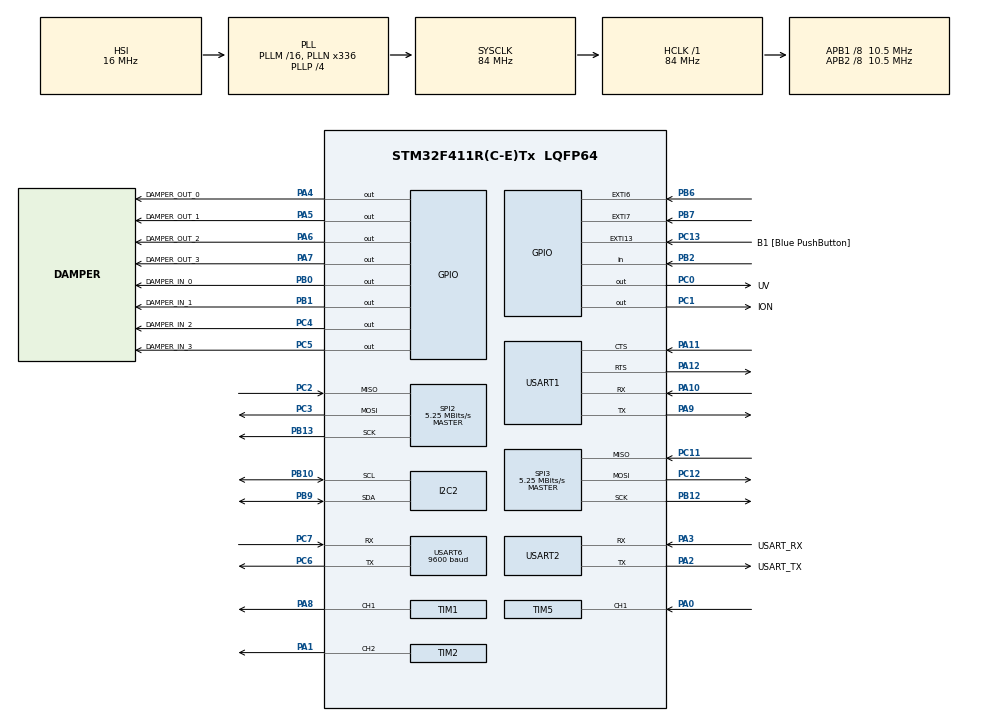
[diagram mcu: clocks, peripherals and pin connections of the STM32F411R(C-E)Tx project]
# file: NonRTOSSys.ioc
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Mcu.Family=STM32F4
PC3.Mode=Full_Duplex_Master
RCC.CortexFreq_Value=84000000
SPI3.Direction=SPI_DIRECTION_2LINES
SPI3.VirtualType=VM_MASTER
PB10.GPIO_Speed=GPIO_SPEED_FREQ_HIGH
SPI2.VirtualType=VM_MASTER
PB10.Mode=I2C
PC12.Signal=SPI3_MOSI
PA14.GPIO_Label=TCK
PC0.GPIO_Label=UV
PA11.Mode=CTS_RTS
PA6.GPIO_Label=DAMPER_OUT_2
PB0.GPIO_Label=DAMPER_IN_0
TIM2.Channel-PWM\ Generation2\ CH2=TIM_CHANNEL_2
PB13.Signal=SPI2_SCK
RCC.SYSCLKSource=RCC_SYSCLKSOURCE_PLLCLK
ProjectManager.StackSize=0x400
PA12.Signal=USART1_RTS
TIM1.Prescaler=20
PH0\ -\ OSC_IN.Signal=RCC_OSC_IN
RCC.HCLKFreq_Value=84000000
RCC.APB2TimFreq_Value=21000000
TIM3.Period=50
PB6.Signal=GPXTI6
PC7.Signal=USART6_RX
PC3.Signal=SPI2_MOSI
RCC.AHBFreq_Value=84000000
NVIC.EXTI15_10_IRQn=true\:0\:0\:false\:false\:true\:true\:true
RCC.HSE_VALUE=8000000
PB2.Signal=GPIO_Input
PC13-ANTI_TAMP.Signal=GPXTI13
PC14-OSC32_IN.Mode=LSE-External-Oscillator
PC4.GPIO_Label=DAMPER_IN_2
TIM1.Channel-PWM\ Generation1\ CH1=TIM_CHANNEL_1
PA14.Mode=Serial_Wire
TIM3.Prescaler=21000
PB1.GPIO_Label=DAMPER_IN_1
NVIC.TIM2_IRQn=true\:0\:0\:false\:false\:true\:true\:true
SPI2.CalculateBaudRate=5.25 MBits/s
PB7.Signal=GPXTI7
PA8.Signal=S_TIM1_CH1
TIM5.Channel-Input_Capture1_from_TI1=TIM_CHANNEL_1
VP_TIM1_VS_ClockSourceINT.Mode=Internal
RCC.FLatency-AdvancedSettings=FLASH_LATENCY_2
Mcu.Package=LQFP64
PB9.Signal=I2C2_SDA
PB1.Signal=GPIO_Output
PA6.Signal=GPIO_Output
PB12.Mode=Full_Duplex_Master
SPI2.Mode=SPI_MODE_MASTER
SPI3.Mode=SPI_MODE_MASTER
USART2.VirtualMode=VM_ASYNC
USART6.VirtualMode=VM_ASYNC
PA2.GPIO_Label=USART_TX
PA10.Signal=USART1_RX
USART6.BaudRate=9600
PC11.Mode=Full_Duplex_Master
RCC.APB2CLKDivider=RCC_HCLK_DIV8
PB9.GPIO_Speed=GPIO_SPEED_FREQ_HIGH
RCC.APB1TimFreq_Value=21000000
SH.S_TIM5_CH1.0=TIM5_CH1,Input_Capture1_from_TI1
SPI2.Direction=SPI_DIRECTION_2LINES
PC5.Signal=GPIO_Output
TIM1.Period=4999
PB13.Mode=Full_Duplex_Master
NVIC.USART1_IRQn=true\:0\:0\:false\:false\:true\:true\:true
PA4.GPIO_Label=DAMPER_OUT_0
VP_TIM3_VS_ClockSourceINT.Mode=Internal
PA3.Signal=USART2_RX
PB3.GPIO_Label=SWO
PC15-OSC32_OUT.Mode=LSE-External-Oscillator
PA10.Mode=Asynchronous
PC13-ANTI_TAMP.GPIO_Label=B1 [Blue PushButton]
PC11.Signal=SPI3_MISO
PB10.GPIO_PuPdOD=GPIO_NOPULL
PH1\ -\ OSC_OUT.Mode=HSE-External-Clock-Source
PC2.Signal=SPI2_MISO
PC4.Signal=GPIO_Output
PC6.Signal=USART6_TX
PC2.Mode=Full_Duplex_Master
PC0.Signal=GPIO_Output
RCC.APB1CLKDivider=RCC_HCLK_DIV8
PC14-OSC32_IN.Signal=RCC_OSC32_IN
NVIC.USART2_IRQn=true\:0\:0\:false\:false\:true\:true\:true
PA0-WKUP.Signal=S_TIM5_CH1
NVIC.USART6_IRQn=true\:0\:0\:false\:false\:true\:true\:true
PA3.Mode=Asynchronous
PA13.Signal=SYS_JTMS-SWDIO
SH.S_TIM2_CH2.0=TIM2_CH2,PWM Generation2 CH2
PA9.Mode=Asynchronous
PH0\ -\ OSC_IN.Mode=HSE-External-Clock-Source
SH.S_TIM1_CH1.0=TIM1_CH1,PWM Generation1 CH1
ProjectManager.TargetToolchain=STM32CubeIDE
PC6.Mode=Asynchronous
PB9.Mode=I2C
PA9.Signal=USART1_TX
PC15-OSC32_OUT.Signal=RCC_OSC32_OUT
PA1.Signal=S_TIM2_CH2
PB10.Signal=I2C2_SCL
PA5.Signal=GPIO_Output
PC12.Mode=Full_Duplex_Master
PH1\ -\ OSC_OUT.Signal=RCC_OSC_OUT
board=NUCLEO-F411RE
RCC.VCOOutputFreq_Value=336000000
VP_TIM9_VS_ClockSourceINT.Mode=Internal
NVIC.TIM3_IRQn=true\:0\:0\:false\:false\:true\:true\:true
RCC.APB2Freq_Value=10500000
SPI3.CalculateBaudRate=5.25 MBits/s
VP_TIM2_VS_ClockSourceINT.Mode=Internal
PC1.GPIO_Label=ION
PA13.Mode=Serial_Wire
Mcu.Name=STM32F411R(C-E)Tx
NVIC.TIM1_BRK_TIM9_IRQn=true\:0\:0\:false\:false\:true\:true\:true
PA2.Signal=USART2_TX
PA13.GPIO_Label=TMS
NVIC.TIM1_CC_IRQn=true\:0\:0\:false\:false\:true\:true\:true
RCC.48MHZClocksFreq_Value=84000000
PB3.Signal=SYS_JTDO-SWO
PA4.Signal=GPIO_Output
RCC.SYSCLKFreq_VALUE=84000000
PA7.GPIO_Label=DAMPER_OUT_3
PA12.Mode=CTS_RTS
PA5.GPIO_Label=DAMPER_OUT_1
PC5.GPIO_Label=DAMPER_IN_3
USART1.VirtualMode=VM_ASYNC
PC13-ANTI_TAMP.GPIO_ModeDefaultEXTI=GPIO_MODE_IT_FALLING
PA11.Signal=USART1_CTS
NVIC.EXTI9_5_IRQn=true\:0\:0\:false\:false\:true\:true\:true
PA14.Signal=SYS_JTCK-SWCLK
ProjectManager.HeapSize=0x200
PB9.GPIO_PuPdOD=GPIO_NOPULL
RCC.HSI_VALUE=16000000
RCC.PLLP=RCC_PLLP_DIV4
NVIC.PriorityGroup=NVIC_PRIORITYGROUP_0
RCC.PLLN=336
PA2.Mode=Asynchronous
PC7.Mode=Asynchronous
RCC.APB1Freq_Value=10500000
PB0.Signal=GPIO_Output
PC1.Signal=GPIO_Output
PB12.Signal=SPI3_SCK
PA3.GPIO_Label=USART_RX
PA7.Signal=GPIO_Output

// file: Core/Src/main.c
/* USER CODE BEGIN Header */
/**
  ******************************************************************************
  * @file           : main.c
  * @brief          : Main program body
  ******************************************************************************
  * @attention
  *
  * <h2><center>&copy; Copyright (c) 2020 STMicroelectronics.
  * All rights reserved.</center></h2>
  *
  * This software component is licensed by ST under BSD 3-Clause license,
  * the "License"; You may not use this file except in compliance with the
  * License. You may obtain a copy of the License at:
  *                        opensource.org/licenses/BSD-3-Clause
  *
  ******************************************************************************
  */
/* USER CODE END Header */

#include "main.h"

/* USER CODE BEGIN Includes */
#include "stdbool.h"
#include "string.h"
#include "stdio.h"
#include "math.h"

#include "MQTTClient.h"
#include "MQTTConnect.h"
#include "amw_uart.h"
#include "fan.h"
#include "stepmotor.h"
#include "svm30.h"
#include "sensirion_i2c.h"
#include "sm_uart-04l.h"
#include "tiny-json.h"
#include "IRremote.h"
/* USER CODE END Includes */

/* USER CODE BEGIN PD */
#define SSID_WIFI "Samsung"
#define PASS_WIFI "123456789"

#define MQTT_MESSAGE                "[{\"name\": \"ERV\", \"id\": \"hethong123\"}]"

#define MQTT_PUB_TOPIC              "leetest"
#define MQTT_SUB_TOPIC              "diem"
#define MQTT_CLIENT_ID              "Zentri"
#define MQTT_USER                   "myuncjoa"
#define MQTT_PASSWORD               "SvVx1BPwTVqk"
#define MQTT_HOST                   "m24.cloudmqtt.com"
#define MQTT_PORT                   14022

// For new app
#define MQTT_USER_N                 "erdfotqc"
#define MQTT_PASSWORD_N             "e8HXfhsM8aD6"
#define MQTT_HOST_N                   "m16.cloudmqtt.com"
#define MQTT_PORT_N                   15044

//** Define MQTT TOPIC cần subcribse từ Broker để giao tiếp vs app **//
#define TOPIC_DEVICE_ID "esp/request/collect/device-info"
#define TOPIC_AIR_QUALITY "esp/request/collect/air-quality"
#define TOPIC_CONTROL_STATE "esp/request/collect/control-state"
#define TOPIC_POWER_ON "esp/request/control/power-on"
#define TOPIC_POWER_OFF "esp/request/control/power-off"
#define TOPIC_NIGHT_MODE "esp/request/control/night_mode"
#define TOPIC_ION "esp/request/control/ion"
#define TOPIC_UV "esp/request/control/uv"
#define TOPIC_FILTER "esp/request/control/filter_mode"
#define TOPIC_CONTROL "esp/request/control/control_mode"
#define TOPIC_SPEED_LOW "esp/request/control/low"
#define TOPIC_SPEED_MED "esp/request/control/med"
#define TOPIC_SPEED_HIGH "esp/request/control/high"

#define RESPONSE_DEVICE_INFO_TOPIC	"esp/response/collect/device-info"
#define TOPIC_PUB_AIR_QUALITY 	"esp/response/collect/air-quality"
#define TOPIC_PUB_CONTROL_STATE  "esp/response/collect/control-state"
#define TOPIC_PUB_INFO "esp/response/collect/device-info"

// For new mobile app
#define TOPIC_LOGIN "hungdv39/ap01/server-device/account/login"
#define TOPIC_CHANGE_PASSWORD "hungdv39/ap01/request/login/change_password"
// Lấy các chỉ số chất lượng không khí và đi�?u khiển
#define TOPIC_GET_AIR_QUALITY  "session_01/ap01/request/home/get_air_quality"
#define TOPIC_GET_CONTROL_STATE "session_01/ap01/request/control/get_state"
#define TOPIC_REQUEST_CONTROL_MODE "session_01/ap01/request/control/control_state"
#define TOPIC_REQUEST_ALERT "session_01/ap01/request/alert/alert"
/** Topic Publish **/
#define REPONSE_LOGIN "hungdv39/ap01/response/login/login"
#define REPONSE_CHANGE_PASSWORD "hungdv39/ap01/response/login/change_password"
#define REPONSE_GET_AIR_QUALITY "session_01/ap01/response/home/get_air_quality"
#define REPONSE_GET_STATE "session_01/ap01/response/control/get_state"
#define REPONSE_CONTROL_STATE "session_01/ap01/response/control/control_state"
#define REPONSE_ALERT "session_01/ap01/response/alert/alert"

#define MESSAGE_LOGIN_SUCCESS  "[{ \"success\" : \"true\", \"session_id\" : \"session_01\", \"info\" : {\"device_id\" : \"air123\", \"name\" : \"May loc 1\", \"position\" : \"Phong khach\"} }]"
#define MESSAGE_LOGIN_FAIL "{ \"success\" : \"false\", \"error\" : \"Wrong user name or password\"}"
#define CHANGE_PASSWORD_SUCCESS "{ \"success\" : \"true\" }"
#define CHANGE_PASSWORD_FAIL "{ \"success\" : \"false\" }"
char username_Login[] = "hungdv39";
char password_Login[] = "hungdv39";
char sessionID[] = "session_01";

#define TIMEOUT_SVM		5000

#define CO2_LEVEL_1		500
#define CO2_LEVEL_2		700
/* USER CODE END PD */

/* USER CODE BEGIN PM */
#ifdef __GNUC__
  /* With GCC, small printf (option LD Linker->Libraries->Small printf
     set to 'Yes') calls __io_putchar() */
  #define PUTCHAR_PROTOTYPE int __io_putchar(int ch)
#else
  #define PUTCHAR_PROTOTYPE int fputc(int ch, FILE *f)
#endif /* __GNUC__ */
/* USER CODE END PM */

I2C_HandleTypeDef hi2c2;

SPI_HandleTypeDef hspi2;
SPI_HandleTypeDef hspi3;

TIM_HandleTypeDef htim1;
TIM_HandleTypeDef htim2;
TIM_HandleTypeDef htim3;
TIM_HandleTypeDef htim5;
TIM_HandleTypeDef htim9;

UART_HandleTypeDef huart1;
UART_HandleTypeDef huart2;
UART_HandleTypeDef huart6;

/* USER CODE BEGIN PV */
MQTTClient client = DefaultClient;
Network network;
MQTTPacket_connectData data = MQTTPacket_connectData_initializer;
svm30_t sensorSVM30data;

uint8_t Rx_data[2];
uint8_t rx_u6[2];
unsigned char send_buf[512];
unsigned char recv_buf[2048];

char controlState[40];
char airAQI[50];
char AQI_newver[100];
char state_newver[100];

//Iar quality variables
uint16_t tvoc_ppb = 0, co2_ppm = 0;
int32_t temperature = 0, humidity = 0;
uint16_t pm2_5, pm1_0, pm10;

//control mode variables
uint8_t power = 0, fan_speed = 0, night_mode = 0, filter_mode = 0, control_mode = 0, uv_state = 0, ion_state = 0;
uint8_t sys_mode = 0; // For new app
uint8_t vanst = 0, preVanst = 0;

uint8_t cap_speed_available = 0;
uint32_t cap_speed;

uint8_t fan_flag = 0;
amphenol_t amphenol1;

// For receive PM2.5
uint8_t index_p = 0;
uint8_t getNext = 0;
uint8_t rxBuffer[32] = {0};

// For IR remote
//int SwitchIR;
//int ModeIR;
//int SpeedIR;
//int IonIR;
char trans_str[96] = {0,};
static char *decode_str[] = {"UNUSED", "UNKNOWN", "RC5", "RC6", "NEC", "SONY", "PANASONIC", "JVC", "SAMSUNG", "WHYNTER", "AIWA_RC_T501", "LG", "SANYO", "MITSUBISHI", "DISH", "SHARP", "DENON", "PRONTO"};
int flagSW, flagSP, flagMode, flagIon;
// For button remote
int state1 = 1, state2=1;
int flagPBT, flagSBT, flagMBT ;
uint32_t nowb;
uint32_t future;
int long_press = 0;
int button1, button2;
/* USER CODE END PV */

void SystemClock_Config(void);
static void MX_GPIO_Init(void);
static void MX_USART2_UART_Init(void);
static void MX_I2C2_Init(void);
static void MX_SPI2_Init(void);
static void MX_SPI3_Init(void);
static void MX_TIM1_Init(void);
static void MX_TIM2_Init(void);
static void MX_TIM3_Init(void);
static void MX_TIM5_Init(void);
static void MX_TIM9_Init(void);
static void MX_USART1_UART_Init(void);
static void MX_USART6_UART_Init(void);
/* USER CODE BEGIN PFP */
PUTCHAR_PROTOTYPE
{
  /* Place your implementation of fputc here */
  /* e.g. write a character to the EVAL_COM1 and Loop until the end of transmission */
  HAL_UART_Transmit(&huart2, (uint8_t *)&ch, 1, 0xFFFF);

  return ch;
}

void init_MQTT(void);
void setUVState(uint8_t state);
void setIONState(uint8_t state);
int publish(void* payload, void* topic);

/* USER CODE END PFP */

/* USER CODE BEGIN 0 */

void Get_Json_login(void* message){

	enum { MAX_FIELDS = 4 };
	json_t pool[ MAX_FIELDS ];

	 json_t const* parent = json_create( message, pool, MAX_FIELDS );
	 if ( parent == NULL )
		 printf("Nothing in payload\r\n");
	 json_t const* namefield = json_getProperty( parent, "user_name" );
	 if ( namefield == NULL )
		 printf("user_name is not exist in payload\r\n");
	 if ( json_getType( namefield ) != JSON_TEXT )
		 printf("Value is wrong\r\n");
	 json_t const* passfield = json_getProperty( parent, "password" );
	 if ( passfield == NULL )
		 printf("password is not exist in payload\r\n");
	 if ( json_getType( passfield ) != JSON_TEXT )
		 printf("Value is wrong\r\n");
	 json_t const* sessionField = json_getProperty( parent, "session_id" );
	 if ( sessionField == NULL )
		 printf("password is not exist in payload\r\n");
	 if (json_getType( sessionField ) != JSON_TEXT )
		 printf("Value is wrong\r\n");
	 char const* namevalue = json_getValue( namefield );
	 char const* passvalue = json_getValue( passfield );
	 char const* sessionID = json_getValue(sessionField);
	 printf( "%s%s%s", passvalue, namevalue, "'.\n" );
	 /*if(!strncmp(namevalue,username_Login,strlen(username_Login) ) && strncmp(passvalue,password_Login,strlen(password_Login))){
		 publish(MESSAGE_LOGIN_SUCCESS, REPONSE_LOGIN);
	 } else {
		 publish(MESSAGE_LOGIN_FAIL,REPONSE_LOGIN);
	 }*/
	 /* Subcribe topic */
}

void Get_Json_changepass(void* message){

	enum { MAX_FIELDS = 4 };
	json_t pool[ MAX_FIELDS ];

	json_t const* parent = json_create( message, pool, MAX_FIELDS );
	if ( parent == NULL )
		printf("Nothing in payload\r\n");
	json_t const* namefield = json_getProperty( parent, "user_name" );
	if ( namefield == NULL )
		printf("Nothing in payload\r\n");
	if ( json_getType( namefield ) != JSON_TEXT )
		printf("Nothing in payload\r\n");
	json_t const* old_passfield = json_getProperty( parent, "old_password" );
	if ( old_passfield == NULL )
		printf("Nothing in payload\r\n");
	if ( json_getType( old_passfield ) != JSON_TEXT )
		printf("Nothing in payload\r\n");
	json_t const* new_passfield = json_getProperty( parent, "new_password" );
	if ( new_passfield == NULL )
		printf("Nothing in payload\r\n");
	if ( json_getType( new_passfield ) != JSON_TEXT )
		printf("Nothing in payload\r\n");
	char const* namevalue = json_getValue( namefield );
	char const* old_passvalue = json_getValue( old_passfield );
	char const* new_passvalue = json_getValue( new_passfield);
	printf( "%s%s%s%s", old_passvalue, new_passvalue, namevalue, "'.\n" );
	if(!strncmp(namevalue,username_Login,strlen(username_Login) ) && strncmp(old_passvalue,password_Login,strlen(password_Login))){
		publish(CHANGE_PASSWORD_SUCCESS ,REPONSE_CHANGE_PASSWORD);
	} else {
		publish(CHANGE_PASSWORD_FAIL ,REPONSE_CHANGE_PASSWORD);
	}
}

void Get_Json_collect_air_quality(void* message){
	//
}

void Get_Json_control(void* message){

	enum { MAX_FIELDS = 4 };
	json_t pool[ MAX_FIELDS ];

	json_t const* parent = json_create( message, pool, MAX_FIELDS );
	json_t const* modefield = json_getProperty( parent, "mode" );
	if(modefield != NULL){
		char const* modevalue = json_getValue( modefield );
		printf("mode value %s\r\n", modevalue);
		if(!strncmp(modevalue,"auto",strlen("auto"))){
			sys_mode = AUTO_MODE;
			publish(state_newver,REPONSE_CONTROL_STATE);
		}
		else if(!strncmp(modevalue,"fresh_air",strlen("fresh_air"))){
			vanst = DAMPER_OUT;
			//ModeIR = 1;
			sys_mode = FRESH_MODE;
			publish(state_newver,REPONSE_CONTROL_STATE);
		}
		else if(!strncmp(modevalue,"indoor",strlen("indoor"))){
			vanst = DAMPER_IN;
			//ModeIR = 2;
			sys_mode = INDOOR_MODE;
			publish(state_newver, REPONSE_CONTROL_STATE);

		}
		else if(!strncmp(modevalue,"night_mode",strlen("night_mode"))){
			fan_speed = LOW_SPEED;
			xiaomi_fan_run(LOW_SPEED);
			//ModeIR = 3;
			sys_mode = NIGHT_MODE;
			publish(state_newver, REPONSE_CONTROL_STATE);

		}
	}
	json_t const* ionfield = json_getProperty( parent, "ion" );
	if(ionfield != NULL){
		char const* ionvalue = json_getValue(ionfield);
		if(!strncmp(ionvalue,"on",strlen("on"))){
			ion_state = ST_ON;
			setIONState(ST_ON);
			//IonIR = 1;
			publish(state_newver, REPONSE_CONTROL_STATE);

		}
		else if(!strncmp(ionvalue,"off",strlen("off"))){
			ion_state = ST_OFF;
			setIONState(ST_OFF);
			//IonIR = 2;
			publish(state_newver, REPONSE_CONTROL_STATE);
		}

	}
	json_t const* speedfield = json_getProperty( parent, "speed" );
	if(speedfield != NULL){
		char const* speedvalue = json_getValue(speedfield);
		if(!strncmp(speedvalue,"0",strlen("0"))){
			xiaomi_fan_stop();

			fan_speed = STOP_SPEED;
			vanst = DAMPER_CLOSE;
			publish(state_newver, REPONSE_CONTROL_STATE);

		}
		else if(!strncmp(speedvalue,"1",strlen("1"))){
			fan_speed = LOW_SPEED;
			xiaomi_fan_run(LOW_SPEED);

			publish(state_newver, REPONSE_CONTROL_STATE);

		}
		else if(!strncmp(speedvalue,"2",strlen("2"))){
			fan_speed = MED_SPEED;
			xiaomi_fan_run(MED_SPEED);

			publish(state_newver, REPONSE_CONTROL_STATE);

		}
		else if(!strncmp(speedvalue,"3",strlen("3"))){
			fan_speed = HIGH_SPEED;
			xiaomi_fan_run(HIGH_SPEED);

			publish(state_newver, REPONSE_CONTROL_STATE);
		}

	}

}

// Ver nhận thông tin từ app mới

void receive_handler_collect(MessageData* rx_msg){

	char* topic = rx_msg->topicName->lenstring.data;
	printf("receive mqtt topic %s\r\n", topic);
	char *message = rx_msg->message->payload;
	message[rx_msg->message->payloadlen] = '\0';

	printf("receive mqtt %s %d\r\n", rx_msg->message->payload, rx_msg->message->payloadlen);
	 if (!strncmp(topic,TOPIC_GET_AIR_QUALITY, strlen(TOPIC_GET_AIR_QUALITY))){
			publish(AQI_newver, REPONSE_GET_AIR_QUALITY);
	 }
	 else if (!strncmp(topic,TOPIC_GET_CONTROL_STATE, strlen(TOPIC_GET_CONTROL_STATE))){
			publish(state_newver,REPONSE_GET_STATE);
	}

}

void receive_handler_login(MessageData* rx_msg){

	char* topic = rx_msg->topicName->lenstring.data;
	printf("receive mqtt topic %s\r\n", topic);
	char *message = rx_msg->message->payload;
	message[rx_msg->message->payloadlen] = '\0';
	printf("receive mqtt %s %d\r\n", rx_msg->message->payload, rx_msg->message->payloadlen);

	if (!strncmp(topic,TOPIC_LOGIN, strlen(TOPIC_LOGIN))){

		Get_Json_login(rx_msg->message->payload);
		// su dung parse json de lay user_name and password
		//publsih thong tin tai khoan
	}
	if (!strncmp(topic,TOPIC_CHANGE_PASSWORD, strlen(TOPIC_CHANGE_PASSWORD))){
		Get_Json_changepass(rx_msg->message->payload);
		// su dung parse json de lay truong old_password, new_password
		// publish lai success hoac fail
	}
}

void receive_handler_control(MessageData* rx_msg){

	char* topic = rx_msg->topicName->lenstring.data;
	printf("receive mqtt topic %s\r\n", topic);
	char *message = rx_msg->message->payload;
	message[rx_msg->message->payloadlen] = '\0';
	printf("receive mqtt %s %d\r\n", rx_msg->message->payload, rx_msg->message->payloadlen);

	if (!strncmp(topic,TOPIC_REQUEST_CONTROL_MODE, strlen(TOPIC_REQUEST_CONTROL_MODE))){

		// sử dụng parse json de lay gia trị các trư�?ng nếu buffer khác 0 thì xét để đi�?u khiển trạng thái
		Get_Json_control(rx_msg->message->payload);
	}

	if (!strncmp(topic,TOPIC_REQUEST_ALERT, strlen(TOPIC_REQUEST_ALERT))){

		//publish phản hồi v�? Alert
	}

}

// Subcribse Mqtt ver mới

void Subcribes_MQTT_New(void){

	MQTTSubscribe(&client, TOPIC_LOGIN , QOS0, receive_handler_login);
	HAL_Delay(100);
	MQTTSubscribe(&client, TOPIC_CHANGE_PASSWORD  , QOS0, receive_handler_login);
	HAL_Delay(100);
	MQTTSubscribe(&client, TOPIC_GET_AIR_QUALITY  , QOS0, receive_handler_collect);
	HAL_Delay(100);
	MQTTSubscribe(&client, TOPIC_GET_CONTROL_STATE , QOS0, receive_handler_collect);
	HAL_Delay(100);
	MQTTSubscribe(&client, TOPIC_REQUEST_CONTROL_MODE , QOS0, receive_handler_control);
	HAL_Delay(100);
	MQTTSubscribe(&client, TOPIC_REQUEST_ALERT , QOS0, receive_handler_control);
}

uint32_t xiaomi_fan_read(void){
	HAL_TIM_IC_Start_IT(&htim5, TIM_CHANNEL_1);
	while(!cap_speed_available){
		printf("not yet\r\n");
		HAL_Delay(50);
	}
	cap_speed_available = 0;
	printf("capture speed %u\r\n", cap_speed);
	return cap_speed;
}

void setUVState(uint8_t state){
	HAL_GPIO_WritePin(UV_GPIO_Port, UV_Pin, state);
	uv_state = state;
}

void setIONState(uint8_t state){
	HAL_GPIO_WritePin(ION_GPIO_Port, ION_Pin, state);
	ion_state = state;
}

static void updateAirAQI(void){
	int tmpIntte1,tmpInthu1,tmpIntte2,tmpInthu2;
	float temp, hum;
	/*tmpIntPM1 = (int)pm2_5;
	float tmpFPM = pm2_5 - tmpIntPM1;
	tmpIntPM2 = trunc(tmpFPM * 100);*/
	//temperature = 9977;
	temp = (float)(temperature/1000.0f);
	tmpIntte1 = (int)temp;
	float tmpT = temp - tmpIntte1;
	tmpIntte2 = trunc(tmpT * 100);
	//humidity = 9876;
	hum = (float)(humidity/1000.0f);
	tmpInthu1 = (int) hum;
	float tmpH = hum - tmpInthu1;
	tmpInthu2 = trunc(tmpH * 100);

	sprintf(airAQI,"%d.%d-%d.%d-%d-%d-%d",tmpIntte1,tmpIntte2,tmpInthu1,tmpInthu2,pm2_5, co2_ppm, tvoc_ppb);
	sprintf(AQI_newver,"{\"temp\":\"%d.%d\",\"rh\":\"%d.%d\",\"pm25\":\"%d\",\"co2\":\"%d\",\"tvoc\":\"%d\",\"pm1\":\"%d\",\"pm10\":\"%d\",\"aq\":\"good\"}", tmpIntte1, tmpIntte2,tmpInthu1,tmpInthu2, pm2_5, co2_ppm, tvoc_ppb, pm1_0, pm10);
	//printf("%s \r\n", AQI_newver);
}

void sysMode2Str(char *mode_str){
	if(sys_mode == AUTO_MODE){
		sprintf(mode_str, "auto");
	}else if(sys_mode == FRESH_MODE){
		sprintf(mode_str, "fresh_air");
	}else if(sys_mode == INDOOR_MODE){
		sprintf(mode_str, "indoor");
	}else if(sys_mode == NIGHT_MODE){
		sprintf(mode_str, "night_mode");
	}
}

void ion2Str(char *ion_str){
	if (ion_state == ST_OFF){
		sprintf(ion_str,"off");
	}
	else {
		sprintf(ion_str,"on");
	}
}

void speed2Str(char *speed_str){
	if (fan_speed == STOP_SPEED){
		sprintf(speed_str,"0");
		}
	else if (fan_speed == LOW_SPEED) {
		sprintf(speed_str,"1");
	}
	else if (fan_speed == MED_SPEED) {
		sprintf(speed_str,"2");
	}
	else {
		sprintf(speed_str,"3");
	}
}

void updateControlState(void){
	char powerc[4];
	char speedc[2];
	char night[4];
	char filter[7];
	char control[7];
	char uv[4];
	char ion[4];
	char mode_str[10] = {0};
	if (power == ST_OFF){
		sprintf(powerc,"OFF");
	}
	else {
		sprintf(powerc,"ON");
	}
	if (fan_speed == STOP_SPEED){
		sprintf(speedc,"0");
		}
	else if (fan_speed == LOW_SPEED) {
		sprintf(speedc,"1");
	}
	else if (fan_speed == MED_SPEED) {
		sprintf(speedc,"2");
	}
	else {
		sprintf(speedc,"3");
	}
	if (night_mode == ST_OFF){
		sprintf(night,"off");
	}
	else {
		sprintf(night,"on");
	}

	if (filter_mode == FRESH){
		sprintf(filter,"fresh");
	}
	else {
		sprintf(filter,"indoor");
	}

	if (control_mode == MANUAL){
		sprintf(control,"manual");
	}
	else {
		sprintf(control,"auto");
	}

	if (uv_state == ST_OFF){
		sprintf(uv,"off");
	}
	else {
		sprintf(uv,"on");
	}
	if (ion_state == ST_OFF){
		sprintf(ion,"off");
	}
	else {
		sprintf(ion,"on");
	}

	if(sys_mode == AUTO_MODE){
		sprintf(mode_str, "auto");
	}else if(sys_mode == FRESH_MODE){
		sprintf(mode_str, "fresh_air");
	}else if(sys_mode == INDOOR_MODE){
		sprintf(mode_str, "indoor");
	}else if(sys_mode == NIGHT_MODE){
		sprintf(mode_str, "night_mode");
	}

	sprintf(controlState,"%s-%s-%s-%s-%s-%s-%s",powerc,speedc,night,filter,control,uv,ion);
	sprintf(state_newver,"{\"speed\":\"%s\",\"mode\":\"%s\",\"ion\":\"%s\"}",speedc, mode_str , ion );
	//printf("%s\r\n", state_newver);
}

void init_MQTT(void){
	int ret;
	if(setCmdMode("machine") < 0){
		printf("set cmd failed\r\n");
	}

	data.MQTTVersion = 4;
	data.clientID.cstring = MQTT_CLIENT_ID;
	data.username.cstring = MQTT_USER;
	data.password.cstring = MQTT_PASSWORD;
	data.keepAliveInterval = 20;
	HAL_Delay(100);
	if(setupNetwork(SSID_WIFI, PASS_WIFI)){
	  printf("setup network failed\r\n");
	}
	HAL_Delay(100);
	printf("init network\r\n");
	if(NetworkInit(&network))
	  printf("init failed\r\n");
	else
	  printf("network up\r\n");
	HAL_Delay(100);
	ret = isTCPPortOpen();
	if(ret >= 0){
		closeTCPPort(ret);
	}
	HAL_Delay(100);
	ret = NetworkConnect(&network, MQTT_HOST, MQTT_PORT);
	if(ret == FAILURE)
	{
	  // error, return
	  printf("network connect tcp failed\r\n");
	  return ret;
	}

	printf("network connect tcp success\r\n");
	HAL_Delay(100);

	MQTTClientInit(&client, &network, 10000, send_buf, sizeof(send_buf), recv_buf, sizeof(recv_buf));

	ret = MQTTConnect(&client, &data);
	if(ret != SUCCESS)
	{
	  // error, return
	  printf("failed to connect mqtt\r\n");
	  NetworkDisconnect(&network);
	  return ret;
	}
	printf("success to connect mqtt\r\n");

}

void init_MQTT_New(void){
	int ret;
	if(setCmdMode("machine") < 0){
		printf("set cmd failed\r\n");
	}

	data.MQTTVersion = 4;
	data.clientID.cstring = MQTT_CLIENT_ID;
	data.username.cstring = MQTT_USER_N;
	data.password.cstring = MQTT_PASSWORD_N;
	data.keepAliveInterval = 10;
	HAL_Delay(100);
	if(setupNetwork(SSID_WIFI, PASS_WIFI)){
	  printf("setup network failed\r\n");
	}
	HAL_Delay(100);
	printf("init network\r\n");
	if(NetworkInit(&network))
	  printf("init failed\r\n");
	else
	  printf("network up\r\n");
	HAL_Delay(100);
	ret = isTCPPortOpen();
	if(ret >= 0){
		closeTCPPort(ret);
	}
	HAL_Delay(100);
	ret = NetworkConnect(&network, MQTT_HOST_N, MQTT_PORT_N);
	if(ret == FAILURE)
	{
	  // error, return
	  printf("network connect tcp failed\r\n");
	  return ret;
	}

	printf("network connect tcp success\r\n");
	HAL_Delay(100);

	MQTTClientInit(&client, &network, 10000, send_buf, sizeof(send_buf), recv_buf, sizeof(recv_buf));

	ret = MQTTConnect(&client, &data);
	if(ret != SUCCESS)
	{
	  // error, return
	  printf("failed to connect mqtt\r\n");
	  NetworkDisconnect(&network);
	  return ret;
	}
	printf("success to connect mqtt\r\n");

}

int publish(void* payload, void* topic)
{
    MQTTMessage message;
    int rc;
    message.qos = QOS1;
    message.retained = 0;
    message.dup = 0;
    message.payload = payload;
    message.payloadlen = strlen((char*)payload);

    rc = MQTTPublish(&client, topic, &message);
    return rc;
}

static void receive_handler(MessageData* rx_msg)
{

    char* topic = rx_msg->topicName->lenstring.data;
    //topic[rx_msg->topicName->lenstring.len] = '\0';
    printf("receive mqtt topic %s\r\n", topic);
    char *message = rx_msg->message->payload;
	message[rx_msg->message->payloadlen] = '\0';
	printf("receive mqtt %s %d\r\n", rx_msg->message->payload, rx_msg->message->payloadlen);
    if (!strncmp(topic,TOPIC_DEVICE_ID, strlen(TOPIC_DEVICE_ID))){
    	publish(MQTT_MESSAGE, RESPONSE_DEVICE_INFO_TOPIC);
    }
    else if (!strncmp(topic,TOPIC_AIR_QUALITY, strlen(TOPIC_AIR_QUALITY))){
    	if (!strncmp(rx_msg->message->payload, "get-hethong123", rx_msg->message->payloadlen)){
    		publish(airAQI, TOPIC_PUB_AIR_QUALITY);
    	}
    }
    else if (!strncmp(topic,TOPIC_CONTROL_STATE, strlen(TOPIC_CONTROL_STATE))){
		if (!strncmp(rx_msg->message->payload, "get-hethong123", rx_msg->message->payloadlen)){
			publish(controlState,TOPIC_PUB_CONTROL_STATE);
		}
    }
    else if (!strncmp(topic,TOPIC_POWER_ON, strlen(TOPIC_POWER_ON))){
		if (!strncmp(rx_msg->message->payload, "control-hethong123", rx_msg->message->payloadlen)){
			power = ST_ON;
			fan_speed = MED_SPEED;
			//fan_12_run(medspeed);
			xiaomi_fan_run(MED_SPEED);
			//SwitchIR = 1;
		}
	}
    else if (!strncmp(topic,TOPIC_POWER_OFF, strlen(TOPIC_POWER_OFF))){
		if (!strncmp(rx_msg->message->payload, "control-hethong123", rx_msg->message->payloadlen)){
			power = ST_OFF;
			fan_speed = ST_OFF;
			vanst = 3;
			xiaomi_fan_stop();
			//SwitchIR = 2;
		}
	}
    else if (!strncmp(topic,TOPIC_SPEED_LOW, strlen(TOPIC_SPEED_LOW))){
		if (!strncmp(rx_msg->message->payload, "control-hethong123", rx_msg->message->payloadlen)){
			fan_speed = LOW_SPEED;
			xiaomi_fan_run(LOW_SPEED);
			//SpeedIR = 1;
		}
	}
    else if (!strncmp(topic, TOPIC_SPEED_MED, strlen(TOPIC_SPEED_MED))){
   		if (!strncmp(rx_msg->message->payload, "control-hethong123", rx_msg->message->payloadlen)){
   			fan_speed = MED_SPEED;
   			xiaomi_fan_run(MED_SPEED);
   			//SpeedIR=2;
   		}
   	}
    else if (!strncmp(topic, TOPIC_SPEED_HIGH, strlen(TOPIC_SPEED_HIGH))){
		if (!strncmp(rx_msg->message->payload, "control-hethong123", rx_msg->message->payloadlen)){
			fan_speed = HIGH_SPEED;
			xiaomi_fan_run(HIGH_SPEED);
			//SpeedIR=3;
		}
	}
    else if (!strncmp(topic,TOPIC_NIGHT_MODE, strlen(TOPIC_NIGHT_MODE))){
		if (!strncmp(rx_msg->message->payload, "control-hethong123-on", rx_msg->message->payloadlen)){
			fan_speed = LOW_SPEED;
			xiaomi_fan_run(LOW_SPEED);
			night_mode = ST_ON;
			//ModeIR = 3;
		}
		else if (!strncmp(rx_msg->message->payload, "control-hethong123-off", rx_msg->message->payloadlen)){
			fan_speed = MED_SPEED;
			xiaomi_fan_run(MED_SPEED);
			night_mode = ST_OFF;
		}
	}
    else if (!strncmp(topic,TOPIC_FILTER, strlen(TOPIC_FILTER))){
		if (!strncmp(rx_msg->message->payload, "control-hethong123-fresh", rx_msg->message->payloadlen)){
			filter_mode = FRESH;
			vanst = DAMPER_OUT;
			//ModeIR = 1;
		}
		else if (!strncmp(rx_msg->message->payload, "control-hethong123-indoor", rx_msg->message->payloadlen)){
			filter_mode = INDOOR;
			vanst = DAMPER_IN;
			//ModeIR = 2;
		}
	}
    else if (!strncmp(topic, TOPIC_CONTROL, strlen(TOPIC_CONTROL))){
  		if (!strncmp(rx_msg->message->payload, "control-hethong123-auto", rx_msg->message->payloadlen)){
  			control_mode = AUTOMATIC ;
  		}
  		else if (!strncmp(rx_msg->message->payload, "control-hethong123-manual", rx_msg->message->payloadlen)){
  			control_mode = MANUAL;
  		}
  	}
    else if (!strncmp(topic, TOPIC_UV, strlen(TOPIC_UV))){
   		if (!strncmp(rx_msg->message->payload, "control-hethong123-on", rx_msg->message->payloadlen)){
   			uv_state = ST_ON;
   			setUVState(ST_ON);
   		}
   		else if (!strncmp(rx_msg->message->payload, "control-hethong123-off", rx_msg->message->payloadlen)){
   			uv_state = ST_OFF;
   			setUVState(ST_OFF);
   		}
   	}
    else if (!strncmp(topic, TOPIC_ION, strlen(TOPIC_ION))){
		if (!strncmp(rx_msg->message->payload, "control-hethong123-on", rx_msg->message->payloadlen)){
			ion_state = ST_ON;
			setIONState(ST_ON);
			//IonIR = 1;

		}
		else if (!strncmp(rx_msg->message->payload, "control-hethong123-off", rx_msg->message->payloadlen)){
			ion_state = ST_OFF;
			setIONState(ST_OFF);
			//IonIR = 2;
		}
	}
}

void subcribesMQTT(void){
	MQTTSubscribe(&client, MQTT_SUB_TOPIC, QOS0, receive_handler);
	HAL_Delay(100);
	MQTTSubscribe(&client, TOPIC_DEVICE_ID, QOS0, receive_handler);
	HAL_Delay(100);
	MQTTSubscribe(&client, TOPIC_AIR_QUALITY, QOS0, receive_handler);
	HAL_Delay(100);
	MQTTSubscribe(&client, TOPIC_CONTROL_STATE, QOS0, receive_handler);
	HAL_Delay(100);
	MQTTSubscribe(&client, TOPIC_POWER_ON, QOS0, receive_handler);
	HAL_Delay(100);
	MQTTSubscribe(&client, TOPIC_POWER_OFF, QOS0, receive_handler);
	HAL_Delay(100);
	MQTTSubscribe(&client, TOPIC_NIGHT_MODE, QOS0, receive_handler);
	HAL_Delay(100);
	MQTTSubscribe(&client, TOPIC_ION, QOS0, receive_handler);
	HAL_Delay(100);
	MQTTSubscribe(&client, TOPIC_UV, QOS0, receive_handler);
	HAL_Delay(100);
	MQTTSubscribe(&client, TOPIC_FILTER, QOS0, receive_handler);
	HAL_Delay(100);
	MQTTSubscribe(&client, TOPIC_CONTROL, QOS0, receive_handler);
	HAL_Delay(100);
	MQTTSubscribe(&client, TOPIC_SPEED_LOW, QOS0, receive_handler);
	HAL_Delay(100);
	MQTTSubscribe(&client, TOPIC_SPEED_MED, QOS0, receive_handler);
	HAL_Delay(100);
	MQTTSubscribe(&client, TOPIC_SPEED_HIGH, QOS0, receive_handler);
	printf("finish subcribe\r\n");
}

void HAL_UART_RxCpltCallback(UART_HandleTypeDef *huart)
{
	uint8_t buff[5];
	uint16_t cs, crc;
	int i;
  if(huart->Instance == USART2){
	  HAL_UART_Transmit(&huart2, (uint8_t *)&Rx_data[0], 1, 0xFFFF);
	  if(Rx_data[0] == 'h'){
		  xiaomi_fan_run(HIGH_SPEED);
	  }else if(Rx_data[0] == 'm'){
		  xiaomi_fan_run(MED_SPEED);
	  }else if(Rx_data[0] == 'l'){
		  xiaomi_fan_run(LOW_SPEED);
	  }else if(Rx_data[0] == 'r'){
		  cap_speed = xiaomi_fan_read();

	  }
	  HAL_UART_Receive_IT(&huart2, Rx_data, 1);
  }
  if(huart->Instance == USART6){
	  HAL_UART_Transmit(&huart2, rx_u6, 1, 0xFFFF);
  		if(getNext){
  			rxBuffer[index_p++] = rx_u6[0];
  			if(rxBuffer[1] != 'M'){
  				getNext = 0;
  				index_p = 0;
  				memset(rxBuffer, 0, sizeof(rxBuffer));
  			}
			if(index_p == 32){
				crc = (rxBuffer[30] << 8)| rxBuffer[31];
				for(i = 0; i < 30; i++){
					cs += rxBuffer[i];
				}
				//Check checksum
				if(cs == crc){
					amphenol1.PM1_Standard = rxBuffer[4]*256 + rxBuffer[5];
					amphenol1.PM2p5_Standard = rxBuffer[6]*256 + rxBuffer[7];
					amphenol1.PM10_Standard = rxBuffer[8]*256 + rxBuffer[9];

					amphenol1.PM1_Environment = rxBuffer[10]*256 + rxBuffer[11];
					amphenol1.PM2p5_Environment = rxBuffer[12]*256 + rxBuffer[13];
					amphenol1.PM10_Environment = rxBuffer[14]*256 + rxBuffer[15];
				}

				memset(rxBuffer, 0, sizeof(rxBuffer));
				getNext = 0;
				index_p = 0;
			}
  		}
  		if(!getNext && (rx_u6[0]=='B')){
			rxBuffer[index_p++] = rx_u6[0];
			getNext = 1;
		}
  		HAL_UART_Receive_IT(&huart6, rx_u6, 1);
  	}
}

void Control_IR(void){

	 if (power == ST_ON && flagSW == 1){

		  fan_speed = MED_SPEED;
		  xiaomi_fan_run(MED_SPEED);
		  flagSW = 0;
	  }
	  else if (power == ST_OFF && flagSW == 1) {

		  fan_speed = STOP_SPEED;
		  xiaomi_fan_stop();
		  flagSW = 0;
	  }
	  if (fan_speed == LOW_SPEED && flagSP == 1 && power == ST_ON){

		  xiaomi_fan_run(LOW_SPEED);
		  flagSP = 0;
	  }
	  else if (fan_speed == MED_SPEED && flagSP == 1 && power == ST_ON){

		  xiaomi_fan_run(MED_SPEED);
		  flagSP = 0;
	  }
	  else if (fan_speed == HIGH_SPEED && flagSP == 1 && power == ST_ON){

		  xiaomi_fan_run(HIGH_SPEED);
		  flagSP = 0;
	  }
	  if (sys_mode == FRESH_MODE && flagMode == 1 && power == ST_ON){
		  vanst = DAMPER_OUT;
		  flagMode = 0;
	  }
	  else if (sys_mode == INDOOR_MODE && flagMode == 1 && power == ST_ON){
		  vanst = DAMPER_IN;
		  flagMode = 0;
	  }
	  else if (sys_mode == NIGHT_MODE && flagMode == 1 && power == ST_ON){
		   fan_speed = LOW_SPEED;
		    xiaomi_fan_run(LOW_SPEED);
			flagMode = 0;

	  }
	  if (ion_state == ST_ON && flagIon == 1 && power == ST_ON){
		  setIONState(ST_ON);
		  flagIon = 0;
	  }
	  else if (ion_state == ST_OFF && flagIon == 1 && power == ST_ON) {
		  setIONState(ST_OFF);
		  flagIon = 0;
	  }
}

void Receive_IR(void){

		if(my_decode(&results)) {
			snprintf(trans_str, 96, "Cod: %p | Type: %s | Bits: %d\n", (void*)results.value, decode_str[results.decode_type + 1], results.bits);
			HAL_UART_Transmit(&huart2, (uint8_t*)&trans_str, sizeof(trans_str), 100);
			HAL_GPIO_TogglePin(GPIOA,GPIO_PIN_5);

			/*if ((void*)results.value == 0xffb04f ){
				power++;
				flagSW = 1;
				if (power == 2){
					power = 0;
				}
			}
			if ((void*)results.value == 0xff22dd ){
				fan_speed++;
				flagSP = 1;
				if (fan_speed == 4){
					fan_speed = 1;
				}
			}
			if ((void*)results.value == 0xff7887 ){
				sys_mode++;
				flagMode = 1;
				if (sys_mode == 5){
					sys_mode = 1;
				}
			}
			if ((void*)results.value == 0xff8877  ){
				ion_state++;
				flagIon = 1;
				if (ion_state == 2){
					ion_state = 0;
				}
			}*/
			//Control_IR();
			HAL_Delay(300);

			my_resume();
		}

}

void Check_button(void){
	if (power == ST_OFF && flagPBT == 1){
		flagPBT = 0;
		fan_speed = MED_SPEED;
		xiaomi_fan_run(MED_SPEED);

	}
	else if (power == ST_ON && flagPBT == 1){
		flagPBT = 0;
		fan_speed = STOP_SPEED;
		xiaomi_fan_stop();

	}
	 if (fan_speed == LOW_SPEED && flagSBT == 1 && power == ST_ON){

		  xiaomi_fan_run(LOW_SPEED);
		  flagSBT = 0;
	  }
	  else if (fan_speed == MED_SPEED && flagSBT == 1 && power == ST_ON){

		  xiaomi_fan_run(MED_SPEED);
		  flagSBT = 0;
	  }
	  else if (fan_speed == HIGH_SPEED && flagSBT == 1 && power == ST_ON){

		  xiaomi_fan_run(HIGH_SPEED);
		  flagSBT = 0;
	  }
	  if (sys_mode == FRESH_MODE && flagMBT == 1 && power == ST_ON){
		  vanst = DAMPER_OUT;
		  flagMBT = 0;
	  }
	  else if (sys_mode == INDOOR_MODE && flagMode == 1 && power == ST_ON){
		  vanst = DAMPER_IN;
		  flagMBT = 0;
	  }
	  else if (sys_mode == NIGHT_MODE && flagMode == 1 && power == ST_ON){
		   fan_speed = LOW_SPEED;
		    xiaomi_fan_run(LOW_SPEED);
			flagMBT = 0;

	  }

}

void Check_long_button(void){

	if (!HAL_GPIO_ReadPin(GPIOB,GPIO_PIN_7)){
		future = HAL_GetTick();

	}
	else {

		nowb = HAL_GetTick();
		if (nowb > (future + 4000) && power == ST_ON){
			power = ST_OFF;
			flagPBT = 1;
			printf("turn off power \r\n");
		}
		else if (nowb > (future + 4000) && power == ST_OFF){
			power = ST_ON;
			flagPBT = 1;
			printf("turn on power \r\n");
		}
	}
}

/* USER CODE END 0 */

int main(void)
{
  /* USER CODE BEGIN 1 */
	int err;
	uint64_t now, end;
	amphenol_t SMAmp;
	uint8_t SMAlarm;

  /* USER CODE END 1 */

  /* MCU Configuration--------------------------------------------------------*/

  /* Reset of all peripherals, Initializes the Flash interface and the Systick. */
  HAL_Init();

  /* Configure the system clock */
  SystemClock_Config();

  /* Initialize all configured peripherals */
  MX_GPIO_Init();
  MX_USART2_UART_Init();
  MX_I2C2_Init();
  MX_SPI2_Init();
  MX_SPI3_Init();
  MX_TIM1_Init();
  MX_TIM2_Init();
  MX_TIM3_Init();
  MX_TIM5_Init();
  MX_TIM9_Init();
  MX_USART1_UART_Init();
  MX_USART6_UART_Init();
  /* USER CODE BEGIN 2 */

  HAL_Delay(100);
  printf("start\r\n");
  night_mode = ST_OFF;
  fan_speed = LOW_SPEED;
  power = ST_ON;
  control_mode = AUTOMATIC;
  filter_mode = INDOOR;
  uv_state = ST_ON;
  ion_state = ST_OFF;
  vanst = DAMPER_IN;

  // For new app
  sys_mode = AUTO_MODE;

  xiaomi_fan_run(LOW_SPEED);
  /* Init MQTT */
  //init_MQTT();
  //subcribesMQTT();
  //1init_MQTT_New();
 //1 Subcribes_MQTT_New();
  my_enableIRIn(); // active IR

  /* Init SVM */
  //1i2c_init_sensirion(&hi2c2);
  now = HAL_GetTick();
  end = now + TIMEOUT_SVM;
 /*1 while (svm_probe() != STATUS_OK) {
	  printf("SVM30 module probing failed\r\n");
	  now = HAL_GetTick();
	  if(end < now)   // Timeout
	  {
		  break;
	  }
  }
  if(now < end){
	  printf("SVM30 module probing successful\r\n");
  }else
	  printf("timeout to probe svm30\r\n");

  err = sgp30_iaq_init();*/

  /* Init SM UART 04L */
  //initSMUARTPort(&huart6);
  //1setSMOutputMode(ASK_ANSWER); // Set SM to ask-answer mode
  HAL_UART_Receive_IT(&huart2, Rx_data, 1);

  /* USER CODE END 2 */

  /* Infinite loop */
  /* USER CODE BEGIN WHILE */
  while (1)
  {
	  printf("nhan button \r\n");
	  Check_long_button();
	  HAL_Delay(1000);
	  Check_button();
	  Receive_IR();
	 /*1 err = getSVM30(&sensorSVM30data);
	  if(err){
		  printf("Failed to get SVM30 data\r\n");
	  }else {
		  tvoc_ppb = sensorSVM30data.tvoc_ppb;
		  co2_ppm  = sensorSVM30data.co2_eq_ppm;
		  temperature = sensorSVM30data.temperature;
		  humidity = sensorSVM30data.humidity;
	  }

	  err = getSMData(&SMAmp, &SMAlarm);
	  if(err){
		  printf("Failed to get SM data\r\n");
	  }
	  //printf("PM25 %d\r\n", SMAmp.PM2p5_Environment);
	  //printf("PM1.0 %d\r\n", SMAmp.PM1_Environment);
	  //printf("PM10 %d\r\n", SMAmp.PM10_Environment);
	  pm2_5 = SMAmp.PM2p5_Environment;
	  pm1_0 = SMAmp.PM1_Environment;
	  pm10 = SMAmp.PM10_Environment;

	  updateAirAQI();
	  updateControlState();

	  //Behavior when run auto mode.
	  if(sys_mode == AUTO_MODE){
		  if(co2_ppm < CO2_LEVEL_1){
			  vanst = DAMPER_IN; // Turn on internal filter
			  xiaomi_fan_run(MED_SPEED);
		  }else if(co2_ppm > CO2_LEVEL_1 && co2_ppm < CO2_LEVEL_2){
			  vanst = DAMPER_OUT; // Turn on fresh supply
			  xiaomi_fan_run(LOW_SPEED);
		  }else {
			  vanst = DAMPER_OUT;
			  xiaomi_fan_run(HIGH_SPEED);
		  }
	  }*/

	  /* Damper control */
	 /*1 if((vanst == DAMPER_OUT) && (vanst != preVanst)){
		  directionOfRotation(DAMPER_OUT, true, 220);
		  directionOfRotation(DAMPER_IN, false, 220);
		  preVanst = vanst;
		  printf("change vanst to damper out\r\n");
	  }else if((vanst == DAMPER_IN) && (vanst != preVanst)){
		  directionOfRotation(DAMPER_IN, true, 220);
		  directionOfRotation(DAMPER_OUT, false, 220);
		  preVanst = vanst;
		  printf("change vanst to damper in\r\n");
	  }else if(vanst != preVanst) {
		  directionOfRotation(DAMPER_IN, false, 220);
		  directionOfRotation(DAMPER_OUT, false, 220);
		  preVanst = vanst;
		  printf("close vanst\r\n");
	  }*/
	  /* Check MQTT data from broker */
	  //1MQTTYield(&client, 500);
    /* USER CODE END WHILE */

  }
}

void HAL_GPIO_EXTI_Callback(uint16_t GPIO_Pin){

	if(GPIO_Pin==GPIO_PIN_6 && state1 == 1){

		state1 = 0;
		HAL_TIM_Base_Start_IT(&htim3);
	}

	if(GPIO_Pin==GPIO_PIN_7 && state2 == 1){

		button2 = 1;
		state2 = 0;
		HAL_TIM_Base_Start_IT(&htim3);
	}

}

void HAL_TIM_PeriodElapsedCallback(TIM_HandleTypeDef *htim){

	user_TIM_PeriodElapsedCallback(htim);
	if(htim->Instance == TIM3){
		if(HAL_GPIO_ReadPin(GPIOB,GPIO_PIN_6) == GPIO_PIN_SET){
			//if (power == ST_ON ){
			fan_speed++;
			flagSBT = 1;
			printf("nhan button PB6 \r\n");
			if (fan_speed == 4){
				fan_speed = 1;
			}
			state1 = 1;
			HAL_GPIO_TogglePin(GPIOA,GPIO_PIN_5);
			HAL_TIM_Base_Stop_IT(&htim3);

			//}
		}
		if(HAL_GPIO_ReadPin(GPIOB,GPIO_PIN_7) == GPIO_PIN_SET){
		//if (power == ST_ON && button2 == 1){
			sys_mode++;
			printf("nhan button PB7 \r\n");
			flagMBT = 1;
			if (sys_mode == 5){
				sys_mode = 1;
			}
			state2 = 1;
			button2 =0;
			HAL_GPIO_TogglePin(GPIOA,GPIO_PIN_5);
			HAL_TIM_Base_Stop_IT(&htim3);
		//}
		}

	}

}
void SystemClock_Config(void)
{
  RCC_OscInitTypeDef RCC_OscInitStruct = {0};
  RCC_ClkInitTypeDef RCC_ClkInitStruct = {0};

  /** Configure the main internal regulator output voltage
  */
  __HAL_RCC_PWR_CLK_ENABLE();
  __HAL_PWR_VOLTAGESCALING_CONFIG(PWR_REGULATOR_VOLTAGE_SCALE1);
  /** Initializes the CPU, AHB and APB busses clocks
  */
  RCC_OscInitStruct.OscillatorType = RCC_OSCILLATORTYPE_HSI;
  RCC_OscInitStruct.HSIState = RCC_HSI_ON;
  RCC_OscInitStruct.HSICalibrationValue = RCC_HSICALIBRATION_DEFAULT;
  RCC_OscInitStruct.PLL.PLLState = RCC_PLL_ON;
  RCC_OscInitStruct.PLL.PLLSource = RCC_PLLSOURCE_HSI;
  RCC_OscInitStruct.PLL.PLLM = 16;
  RCC_OscInitStruct.PLL.PLLN = 336;
  RCC_OscInitStruct.PLL.PLLP = RCC_PLLP_DIV4;
  RCC_OscInitStruct.PLL.PLLQ = 4;
  if (HAL_RCC_OscConfig(&RCC_OscInitStruct) != HAL_OK)
  {
    Error_Handler();
  }
  /** Initializes the CPU, AHB and APB busses clocks
  */
  RCC_ClkInitStruct.ClockType = RCC_CLOCKTYPE_HCLK|RCC_CLOCKTYPE_SYSCLK
                              |RCC_CLOCKTYPE_PCLK1|RCC_CLOCKTYPE_PCLK2;
  RCC_ClkInitStruct.SYSCLKSource = RCC_SYSCLKSOURCE_PLLCLK;
  RCC_ClkInitStruct.AHBCLKDivider = RCC_SYSCLK_DIV1;
  RCC_ClkInitStruct.APB1CLKDivider = RCC_HCLK_DIV8;
  RCC_ClkInitStruct.APB2CLKDivider = RCC_HCLK_DIV8;

  if (HAL_RCC_ClockConfig(&RCC_ClkInitStruct, FLASH_LATENCY_2) != HAL_OK)
  {
    Error_Handler();
  }
}

static void MX_I2C2_Init(void)
{

  hi2c2.Instance = I2C2;
  hi2c2.Init.ClockSpeed = 100000;
  hi2c2.Init.DutyCycle = I2C_DUTYCYCLE_2;
  hi2c2.Init.OwnAddress1 = 0;
  hi2c2.Init.AddressingMode = I2C_ADDRESSINGMODE_7BIT;
  hi2c2.Init.DualAddressMode = I2C_DUALADDRESS_DISABLE;
  hi2c2.Init.OwnAddress2 = 0;
  hi2c2.Init.GeneralCallMode = I2C_GENERALCALL_DISABLE;
  hi2c2.Init.NoStretchMode = I2C_NOSTRETCH_DISABLE;
  if (HAL_I2C_Init(&hi2c2) != HAL_OK)
  {
    Error_Handler();
  }

}

static void MX_SPI2_Init(void)
{

  /* SPI2 parameter configuration*/
  hspi2.Instance = SPI2;
  hspi2.Init.Mode = SPI_MODE_MASTER;
  hspi2.Init.Direction = SPI_DIRECTION_2LINES;
  hspi2.Init.DataSize = SPI_DATASIZE_8BIT;
  hspi2.Init.CLKPolarity = SPI_POLARITY_LOW;
  hspi2.Init.CLKPhase = SPI_PHASE_1EDGE;
  hspi2.Init.NSS = SPI_NSS_SOFT;
  hspi2.Init.BaudRatePrescaler = SPI_BAUDRATEPRESCALER_2;
  hspi2.Init.FirstBit = SPI_FIRSTBIT_MSB;
  hspi2.Init.TIMode = SPI_TIMODE_DISABLE;
  hspi2.Init.CRCCalculation = SPI_CRCCALCULATION_DISABLE;
  hspi2.Init.CRCPolynomial = 10;
  if (HAL_SPI_Init(&hspi2) != HAL_OK)
  {
    Error_Handler();
  }

}

static void MX_SPI3_Init(void)
{

  /* SPI3 parameter configuration*/
  hspi3.Instance = SPI3;
  hspi3.Init.Mode = SPI_MODE_MASTER;
  hspi3.Init.Direction = SPI_DIRECTION_2LINES;
  hspi3.Init.DataSize = SPI_DATASIZE_8BIT;
  hspi3.Init.CLKPolarity = SPI_POLARITY_LOW;
  hspi3.Init.CLKPhase = SPI_PHASE_1EDGE;
  hspi3.Init.NSS = SPI_NSS_SOFT;
  hspi3.Init.BaudRatePrescaler = SPI_BAUDRATEPRESCALER_2;
  hspi3.Init.FirstBit = SPI_FIRSTBIT_MSB;
  hspi3.Init.TIMode = SPI_TIMODE_DISABLE;
  hspi3.Init.CRCCalculation = SPI_CRCCALCULATION_DISABLE;
  hspi3.Init.CRCPolynomial = 10;
  if (HAL_SPI_Init(&hspi3) != HAL_OK)
  {
    Error_Handler();
  }

}

static void MX_TIM1_Init(void)
{

  TIM_ClockConfigTypeDef sClockSourceConfig = {0};
  TIM_MasterConfigTypeDef sMasterConfig = {0};
  TIM_OC_InitTypeDef sConfigOC = {0};
  TIM_BreakDeadTimeConfigTypeDef sBreakDeadTimeConfig = {0};

  htim1.Instance = TIM1;
  htim1.Init.Prescaler = 20;
  htim1.Init.CounterMode = TIM_COUNTERMODE_UP;
  htim1.Init.Period = 4999;
  htim1.Init.ClockDivision = TIM_CLOCKDIVISION_DIV1;
  htim1.Init.RepetitionCounter = 0;
  htim1.Init.AutoReloadPreload = TIM_AUTORELOAD_PRELOAD_DISABLE;
  if (HAL_TIM_Base_Init(&htim1) != HAL_OK)
  {
    Error_Handler();
  }
  sClockSourceConfig.ClockSource = TIM_CLOCKSOURCE_INTERNAL;
  if (HAL_TIM_ConfigClockSource(&htim1, &sClockSourceConfig) != HAL_OK)
  {
    Error_Handler();
  }
  if (HAL_TIM_PWM_Init(&htim1) != HAL_OK)
  {
    Error_Handler();
  }
  sMasterConfig.MasterOutputTrigger = TIM_TRGO_RESET;
  sMasterConfig.MasterSlaveMode = TIM_MASTERSLAVEMODE_DISABLE;
  if (HAL_TIMEx_MasterConfigSynchronization(&htim1, &sMasterConfig) != HAL_OK)
  {
    Error_Handler();
  }
  sConfigOC.OCMode = TIM_OCMODE_PWM1;
  sConfigOC.Pulse = 0;
  sConfigOC.OCPolarity = TIM_OCPOLARITY_HIGH;
  sConfigOC.OCNPolarity = TIM_OCNPOLARITY_HIGH;
  sConfigOC.OCFastMode = TIM_OCFAST_DISABLE;
  sConfigOC.OCIdleState = TIM_OCIDLESTATE_RESET;
  sConfigOC.OCNIdleState = TIM_OCNIDLESTATE_RESET;
  if (HAL_TIM_PWM_ConfigChannel(&htim1, &sConfigOC, TIM_CHANNEL_1) != HAL_OK)
  {
    Error_Handler();
  }
  sBreakDeadTimeConfig.OffStateRunMode = TIM_OSSR_DISABLE;
  sBreakDeadTimeConfig.OffStateIDLEMode = TIM_OSSI_DISABLE;
  sBreakDeadTimeConfig.LockLevel = TIM_LOCKLEVEL_OFF;
  sBreakDeadTimeConfig.DeadTime = 0;
  sBreakDeadTimeConfig.BreakState = TIM_BREAK_DISABLE;
  sBreakDeadTimeConfig.BreakPolarity = TIM_BREAKPOLARITY_HIGH;
  sBreakDeadTimeConfig.AutomaticOutput = TIM_AUTOMATICOUTPUT_DISABLE;
  if (HAL_TIMEx_ConfigBreakDeadTime(&htim1, &sBreakDeadTimeConfig) != HAL_OK)
  {
    Error_Handler();
  }
  HAL_TIM_MspPostInit(&htim1);

}

static void MX_TIM2_Init(void)
{

  TIM_ClockConfigTypeDef sClockSourceConfig = {0};
  TIM_MasterConfigTypeDef sMasterConfig = {0};
  TIM_OC_InitTypeDef sConfigOC = {0};

  htim2.Instance = TIM2;
  htim2.Init.Prescaler = 0;
  htim2.Init.CounterMode = TIM_COUNTERMODE_UP;
  htim2.Init.Period = 0;
  htim2.Init.ClockDivision = TIM_CLOCKDIVISION_DIV1;
  htim2.Init.AutoReloadPreload = TIM_AUTORELOAD_PRELOAD_DISABLE;
  if (HAL_TIM_Base_Init(&htim2) != HAL_OK)
  {
    Error_Handler();
  }
  sClockSourceConfig.ClockSource = TIM_CLOCKSOURCE_INTERNAL;
  if (HAL_TIM_ConfigClockSource(&htim2, &sClockSourceConfig) != HAL_OK)
  {
    Error_Handler();
  }
  if (HAL_TIM_PWM_Init(&htim2) != HAL_OK)
  {
    Error_Handler();
  }
  sMasterConfig.MasterOutputTrigger = TIM_TRGO_RESET;
  sMasterConfig.MasterSlaveMode = TIM_MASTERSLAVEMODE_DISABLE;
  if (HAL_TIMEx_MasterConfigSynchronization(&htim2, &sMasterConfig) != HAL_OK)
  {
    Error_Handler();
  }
  sConfigOC.OCMode = TIM_OCMODE_PWM1;
  sConfigOC.Pulse = 0;
  sConfigOC.OCPolarity = TIM_OCPOLARITY_HIGH;
  sConfigOC.OCFastMode = TIM_OCFAST_DISABLE;
  if (HAL_TIM_PWM_ConfigChannel(&htim2, &sConfigOC, TIM_CHANNEL_2) != HAL_OK)
  {
    Error_Handler();
  }
  HAL_TIM_MspPostInit(&htim2);

}

static void MX_TIM3_Init(void)
{

  TIM_ClockConfigTypeDef sClockSourceConfig = {0};
  TIM_MasterConfigTypeDef sMasterConfig = {0};

  htim3.Instance = TIM3;
  htim3.Init.Prescaler = 21000;
  htim3.Init.CounterMode = TIM_COUNTERMODE_UP;
  htim3.Init.Period = 50;
  htim3.Init.ClockDivision = TIM_CLOCKDIVISION_DIV1;
  htim3.Init.AutoReloadPreload = TIM_AUTORELOAD_PRELOAD_DISABLE;
  if (HAL_TIM_Base_Init(&htim3) != HAL_OK)
  {
    Error_Handler();
  }
  sClockSourceConfig.ClockSource = TIM_CLOCKSOURCE_INTERNAL;
  if (HAL_TIM_ConfigClockSource(&htim3, &sClockSourceConfig) != HAL_OK)
  {
    Error_Handler();
  }
  sMasterConfig.MasterOutputTrigger = TIM_TRGO_RESET;
  sMasterConfig.MasterSlaveMode = TIM_MASTERSLAVEMODE_DISABLE;
  if (HAL_TIMEx_MasterConfigSynchronization(&htim3, &sMasterConfig) != HAL_OK)
  {
    Error_Handler();
  }

}

static void MX_TIM5_Init(void)
{

  TIM_MasterConfigTypeDef sMasterConfig = {0};
  TIM_IC_InitTypeDef sConfigIC = {0};

  htim5.Instance = TIM5;
  htim5.Init.Prescaler = 0;
  htim5.Init.CounterMode = TIM_COUNTERMODE_UP;
  htim5.Init.Period = 0;
  htim5.Init.ClockDivision = TIM_CLOCKDIVISION_DIV1;
  htim5.Init.AutoReloadPreload = TIM_AUTORELOAD_PRELOAD_DISABLE;
  if (HAL_TIM_IC_Init(&htim5) != HAL_OK)
  {
    Error_Handler();
  }
  sMasterConfig.MasterOutputTrigger = TIM_TRGO_RESET;
  sMasterConfig.MasterSlaveMode = TIM_MASTERSLAVEMODE_DISABLE;
  if (HAL_TIMEx_MasterConfigSynchronization(&htim5, &sMasterConfig) != HAL_OK)
  {
    Error_Handler();
  }
  sConfigIC.ICPolarity = TIM_INPUTCHANNELPOLARITY_RISING;
  sConfigIC.ICSelection = TIM_ICSELECTION_DIRECTTI;
  sConfigIC.ICPrescaler = TIM_ICPSC_DIV1;
  sConfigIC.ICFilter = 0;
  if (HAL_TIM_IC_ConfigChannel(&htim5, &sConfigIC, TIM_CHANNEL_1) != HAL_OK)
  {
    Error_Handler();
  }

}

static void MX_TIM9_Init(void)
{

  TIM_ClockConfigTypeDef sClockSourceConfig = {0};

  htim9.Instance = TIM9;
  htim9.Init.Prescaler = 0;
  htim9.Init.CounterMode = TIM_COUNTERMODE_UP;
  htim9.Init.Period = 0;
  htim9.Init.ClockDivision = TIM_CLOCKDIVISION_DIV1;
  htim9.Init.AutoReloadPreload = TIM_AUTORELOAD_PRELOAD_DISABLE;
  if (HAL_TIM_Base_Init(&htim9) != HAL_OK)
  {
    Error_Handler();
  }
  sClockSourceConfig.ClockSource = TIM_CLOCKSOURCE_INTERNAL;
  if (HAL_TIM_ConfigClockSource(&htim9, &sClockSourceConfig) != HAL_OK)
  {
    Error_Handler();
  }

}

static void MX_USART1_UART_Init(void)
{

  huart1.Instance = USART1;
  huart1.Init.BaudRate = 115200;
  huart1.Init.WordLength = UART_WORDLENGTH_8B;
  huart1.Init.StopBits = UART_STOPBITS_1;
  huart1.Init.Parity = UART_PARITY_NONE;
  huart1.Init.Mode = UART_MODE_TX_RX;
  huart1.Init.HwFlowCtl = UART_HWCONTROL_RTS_CTS;
  huart1.Init.OverSampling = UART_OVERSAMPLING_16;
  if (HAL_UART_Init(&huart1) != HAL_OK)
  {
    Error_Handler();
  }

}

static void MX_USART2_UART_Init(void)
{

  huart2.Instance = USART2;
  huart2.Init.BaudRate = 115200;
  huart2.Init.WordLength = UART_WORDLENGTH_8B;
  huart2.Init.StopBits = UART_STOPBITS_1;
  huart2.Init.Parity = UART_PARITY_NONE;
  huart2.Init.Mode = UART_MODE_TX_RX;
  huart2.Init.HwFlowCtl = UART_HWCONTROL_NONE;
  huart2.Init.OverSampling = UART_OVERSAMPLING_16;
  if (HAL_UART_Init(&huart2) != HAL_OK)
  {
    Error_Handler();
  }

}

static void MX_USART6_UART_Init(void)
{

  huart6.Instance = USART6;
  huart6.Init.BaudRate = 9600;
  huart6.Init.WordLength = UART_WORDLENGTH_8B;
  huart6.Init.StopBits = UART_STOPBITS_1;
  huart6.Init.Parity = UART_PARITY_NONE;
  huart6.Init.Mode = UART_MODE_TX_RX;
  huart6.Init.HwFlowCtl = UART_HWCONTROL_NONE;
  huart6.Init.OverSampling = UART_OVERSAMPLING_16;
  if (HAL_UART_Init(&huart6) != HAL_OK)
  {
    Error_Handler();
  }

}

static void MX_GPIO_Init(void)
{
  GPIO_InitTypeDef GPIO_InitStruct = {0};

  /* GPIO Ports Clock Enable */
  __HAL_RCC_GPIOC_CLK_ENABLE();
  __HAL_RCC_GPIOH_CLK_ENABLE();
  __HAL_RCC_GPIOA_CLK_ENABLE();
  __HAL_RCC_GPIOB_CLK_ENABLE();

  /*Configure GPIO pin Output Level */
  HAL_GPIO_WritePin(GPIOC, UV_Pin|ION_Pin|DAMPER_IN_2_Pin|DAMPER_IN_3_Pin, GPIO_PIN_RESET);

  /*Configure GPIO pin Output Level */
  HAL_GPIO_WritePin(GPIOA, DAMPER_OUT_0_Pin|DAMPER_OUT_1_Pin|DAMPER_OUT_2_Pin|DAMPER_OUT_3_Pin, GPIO_PIN_RESET);

  /*Configure GPIO pin Output Level */
  HAL_GPIO_WritePin(GPIOB, DAMPER_IN_0_Pin|DAMPER_IN_1_Pin, GPIO_PIN_RESET);

  /*Configure GPIO pin : B1_Pin */
  GPIO_InitStruct.Pin = B1_Pin;
  GPIO_InitStruct.Mode = GPIO_MODE_IT_FALLING;
  GPIO_InitStruct.Pull = GPIO_NOPULL;
  HAL_GPIO_Init(B1_GPIO_Port, &GPIO_InitStruct);

  /*Configure GPIO pins : UV_Pin ION_Pin DAMPER_IN_2_Pin DAMPER_IN_3_Pin */
  GPIO_InitStruct.Pin = UV_Pin|ION_Pin|DAMPER_IN_2_Pin|DAMPER_IN_3_Pin;
  GPIO_InitStruct.Mode = GPIO_MODE_OUTPUT_PP;
  GPIO_InitStruct.Pull = GPIO_NOPULL;
  GPIO_InitStruct.Speed = GPIO_SPEED_FREQ_LOW;
  HAL_GPIO_Init(GPIOC, &GPIO_InitStruct);

  /*Configure GPIO pins : DAMPER_OUT_0_Pin DAMPER_OUT_1_Pin DAMPER_OUT_2_Pin DAMPER_OUT_3_Pin */
  GPIO_InitStruct.Pin = DAMPER_OUT_0_Pin|DAMPER_OUT_1_Pin|DAMPER_OUT_2_Pin|DAMPER_OUT_3_Pin;
  GPIO_InitStruct.Mode = GPIO_MODE_OUTPUT_PP;
  GPIO_InitStruct.Pull = GPIO_NOPULL;
  GPIO_InitStruct.Speed = GPIO_SPEED_FREQ_LOW;
  HAL_GPIO_Init(GPIOA, &GPIO_InitStruct);

  /*Configure GPIO pins : DAMPER_IN_0_Pin DAMPER_IN_1_Pin */
  GPIO_InitStruct.Pin = DAMPER_IN_0_Pin|DAMPER_IN_1_Pin;
  GPIO_InitStruct.Mode = GPIO_MODE_OUTPUT_PP;
  GPIO_InitStruct.Pull = GPIO_NOPULL;
  GPIO_InitStruct.Speed = GPIO_SPEED_FREQ_LOW;
  HAL_GPIO_Init(GPIOB, &GPIO_InitStruct);

  /*Configure GPIO pin : PB2 */
  GPIO_InitStruct.Pin = GPIO_PIN_2;
  GPIO_InitStruct.Mode = GPIO_MODE_INPUT;
  GPIO_InitStruct.Pull = GPIO_NOPULL;
  HAL_GPIO_Init(GPIOB, &GPIO_InitStruct);

  /*Configure GPIO pins : PB6 PB7 */
  GPIO_InitStruct.Pin = GPIO_PIN_6|GPIO_PIN_7;
  GPIO_InitStruct.Mode = GPIO_MODE_IT_RISING;
  GPIO_InitStruct.Pull = GPIO_NOPULL;
  HAL_GPIO_Init(GPIOB, &GPIO_InitStruct);

  /* EXTI interrupt init*/
  HAL_NVIC_SetPriority(EXTI9_5_IRQn, 0, 0);
  HAL_NVIC_EnableIRQ(EXTI9_5_IRQn);

  HAL_NVIC_SetPriority(EXTI15_10_IRQn, 0, 0);
  HAL_NVIC_EnableIRQ(EXTI15_10_IRQn);

}

void Error_Handler(void)
{
}

/************************ (C) COPYRIGHT STMicroelectronics *****END OF FILE****/
